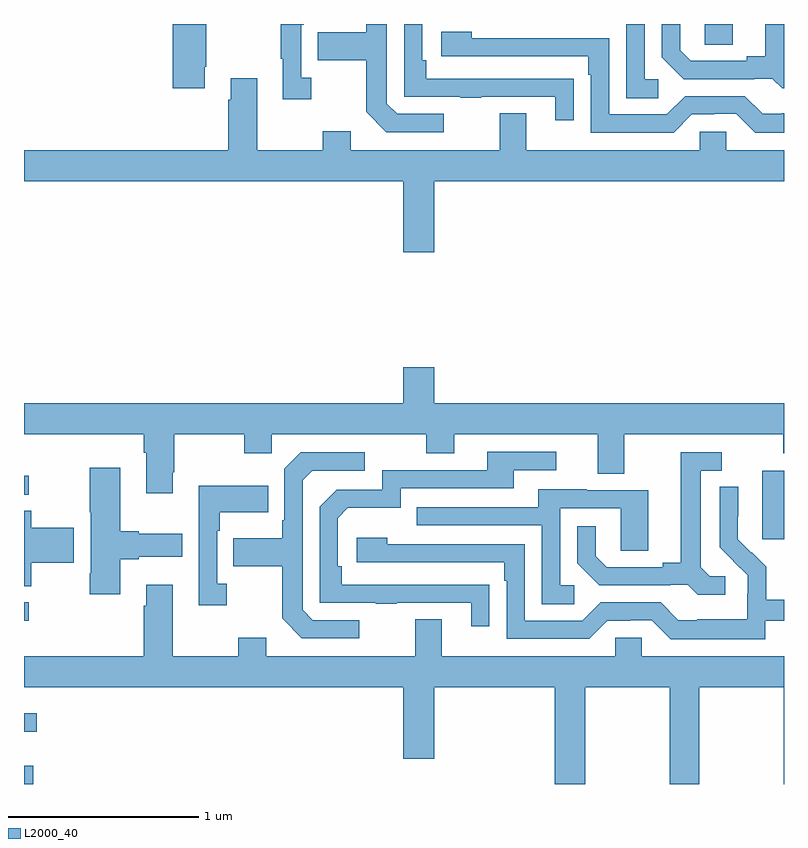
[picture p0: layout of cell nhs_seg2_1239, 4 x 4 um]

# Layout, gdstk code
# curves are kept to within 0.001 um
import gdstk
lib = gdstk.Library(unit=1e-6, precision=1e-09)
def R(c, l, rs):  # rectangles x0, y0, x1, y1
    for r in rs: c.add(gdstk.rectangle(r[:2], r[2:], *l))
def P(c, l, *ps):  # polygons
    for p in ps: c.add(gdstk.Polygon(p, *l))
L2000_40 = (2000, 40)

nhs_seg2_1239 = lib.new_cell('nhs_seg2_1239')
R(nhs_seg2_1239, L2000_40, [(175,641.8,175.048,641.896), (175,642.075,175.066,642.172), (175,642.66,175.024,642.756), (178.886,643.089,179,643.45), (175,643.323,175.024,643.422), (178.584,645.691,178.729,645.8)])
P(nhs_seg2_1239, L2000_40, [(179,645.8),(178.901,645.8),(178.901,645.629),(178.805,645.629),(178.805,645.606),(178.51,645.606),(178.453,645.663),(178.453,645.8),(178.356,645.8),(178.356,645.626),(178.472,645.51),(178.844,645.51),(178.844,645.513),(178.938,645.513),(178.99,645.461),(179,645.461)],
  [(177.208,645.327),(176.964,645.327),(176.91,645.381),(176.91,645.8),(176.802,645.8),(176.802,645.757),(176.545,645.757),(176.545,645.61),(176.802,645.61),(176.802,645.337),(176.907,645.231),(177.208,645.231)],
  [(175.951,645.574),(175.959,645.574),(175.959,645.8),(175.784,645.8),(175.784,645.462),(175.951,645.462)],
  [(176.512,645.518),(176.46,645.518),(176.46,645.797),(176.473,645.797),(176.473,645.8),(176.352,645.8),(176.352,645.617),(176.363,645.617),(176.363,645.405),(176.512,645.405)],
  [(178.339,645.51),(178.266,645.51),(178.266,645.8),(178.17,645.8),(178.17,645.409),(178.339,645.409)],
  [(177.893,645.512),(177.791,645.512),(177.791,645.513),(177.116,645.513),(177.116,645.61),(177.096,645.61),(177.096,645.8),(177,645.8),(177,645.417),(177.295,645.417),(177.295,645.412),(177.407,645.412),(177.407,645.417),(177.797,645.417),(177.797,645.294),(177.893,645.294)],
  [(179,645.331),(178.987,645.331),(178.987,645.327),(178.887,645.327),(178.794,645.42),(178.479,645.42),(178.383,645.324),(178.08,645.324),(178.08,645.726),(177.356,645.726),(177.356,645.76),(177.195,645.76),(177.195,645.63),(177.971,645.63),(177.971,645.533),(177.984,645.533),(177.984,645.228),(178.419,645.228),(178.515,645.324),(178.634,645.324),(178.634,645.327),(178.749,645.327),(178.849,645.227),(179,645.227)],
  [(177.16,644.972),(179,644.972),(179,645.136),(178.695,645.136),(178.695,645.234),(178.557,645.234),(178.557,645.136),(177.643,645.136),(177.643,645.331),(177.503,645.331),(177.503,645.136),(176.719,645.136),(176.719,645.235),(176.572,645.235),(176.572,645.136),(176.227,645.136),(176.227,645.514),(176.087,645.514),(176.087,645.401),(176.075,645.401),(176.075,645.136),(175,645.136),(175,644.972),(176.996,644.972),(176.996,644.598),(177.16,644.598)],
  [(175.783,643.441),(175.791,643.441),(175.791,643.64),(176.158,643.64),(176.158,643.541),(176.304,643.541),(176.304,643.64),(177.118,643.64),(177.118,643.541),(177.265,643.541),(177.265,643.64),(178.019,643.64),(178.019,643.432),(178.159,643.432),(178.159,643.64),(178.996,643.64),(178.996,643.541),(179,643.541),(179,643.804),(177.16,643.804),(177.16,643.993),(176.996,643.993),(176.996,643.804),(175,643.804),(175,643.64),(175.631,643.64),(175.631,643.544),(175.643,643.544),(175.643,643.329),(175.783,643.329)],
  [(177.449,642.848),(176.672,642.849),(176.672,642.946),(176.652,642.946),(176.652,643.2),(176.705,643.253),(176.982,643.253),(176.982,643.356),(177.577,643.356),(177.577,643.452),(177.802,643.452),(177.802,643.548),(177.437,643.548),(177.437,643.452),(176.886,643.452),(176.886,643.35),(176.646,643.35),(176.556,643.26),(176.556,642.753),(176.851,642.753),(176.851,642.748),(176.963,642.748),(176.963,642.753),(177.353,642.753),(177.353,642.63),(177.449,642.63)],
  [(178.69,642.894),(178.608,642.894),(178.561,642.941),(178.561,643.449),(178.672,643.449),(178.672,643.545),(178.457,643.545),(178.457,642.965),(178.361,642.965),(178.361,642.942),(178.066,642.942),(178.009,642.999),(178.009,643.156),(177.912,643.156),(177.912,642.962),(178.028,642.846),(178.4,642.846),(178.4,642.849),(178.494,642.849),(178.546,642.797),(178.69,642.797)],
  [(176.764,642.663),(176.52,642.663),(176.466,642.717),(176.466,643.398),(176.517,643.449),(176.794,643.449),(176.794,643.545),(176.457,643.545),(176.37,643.458),(176.37,643.189),(176.358,643.189),(176.358,643.093),(176.101,643.093),(176.101,642.946),(176.358,642.946),(176.358,642.673),(176.463,642.567),(176.764,642.567)],
  [(175.507,642.983),(175.603,642.983),(175.603,642.995),(175.834,642.995),(175.834,643.117),(175.603,643.117),(175.603,643.13),(175.507,643.13),(175.507,643.465),(175.345,643.465),(175.345,643.231),(175.352,643.231),(175.352,642.91),(175.345,642.91),(175.345,642.798),(175.507,642.798)],
  [(176.068,642.854),(176.016,642.854),(176.016,643.133),(176.029,643.133),(176.029,643.229),(176.285,643.229),(176.285,643.369),(175.92,643.369),(175.92,642.741),(176.068,642.741)],
  [(178.902,642.66),(179,642.66),(179,642.769),(178.907,642.769),(178.907,642.943),(178.83,643.02),(178.827,643.017),(178.757,643.088),(178.758,643.364),(178.662,643.364),(178.662,643.046),(178.808,642.898),(178.808,642.801),(178.806,642.801),(178.806,642.667),(178.543,642.667),(178.543,642.663),(178.443,642.663),(178.35,642.756),(178.035,642.756),(177.939,642.66),(177.636,642.66),(177.636,643.062),(176.912,643.062),(176.912,643.096),(176.751,643.096),(176.751,642.966),(177.527,642.966),(177.527,642.869),(177.54,642.869),(177.54,642.564),(177.975,642.564),(178.071,642.66),(178.19,642.66),(178.19,642.663),(178.305,642.663),(178.405,642.563),(178.902,642.563)],
  [(177.895,642.846),(177.822,642.846),(177.822,643.251),(178.14,643.251),(178.14,643.027),(178.285,643.027),(178.285,643.347),(177.961,643.347),(177.961,643.351),(177.707,643.351),(177.707,643.257),(177.067,643.257),(177.067,643.161),(177.726,643.161),(177.726,642.745),(177.895,642.745)],
  [(175.038,642.965),(175.261,642.965),(175.261,643.148),(175.038,643.148),(175.038,643.238),(175,643.238),(175,642.841),(175.038,642.841)],
  [(177.954,642.308),(178.399,642.308),(178.399,641.8),(178.554,641.8),(178.554,642.308),(178.999,642.308),(178.999,641.8),(179,641.8),(179,642.472),(178.251,642.472),(178.251,642.57),(178.113,642.57),(178.113,642.472),(177.199,642.472),(177.199,642.667),(177.059,642.667),(177.059,642.472),(176.275,642.472),(176.275,642.571),(176.128,642.571),(176.128,642.472),(175.783,642.472),(175.783,642.85),(175.643,642.85),(175.643,642.737),(175.631,642.737),(175.631,642.472),(175,642.472),(175,642.308),(176.996,642.308),(176.996,641.934),(177.16,641.934),(177.16,642.308),(177.794,642.308),(177.794,641.8),(177.954,641.8)])

lib.write_gds('nhs_seg2_1239.gds')
